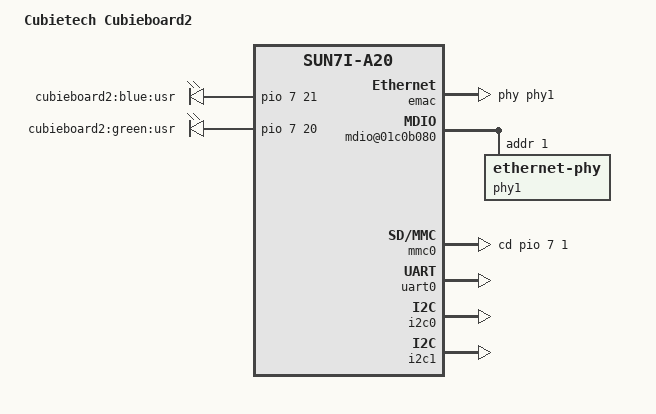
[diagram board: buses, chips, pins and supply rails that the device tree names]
/*
 * Copyright 2013 Maxime Ripard
 *
 * Maxime Ripard <maxime.ripard@free-electrons.com>
 *
 * The code contained herein is licensed under the GNU General Public
 * License. You may obtain a copy of the GNU General Public License
 * Version 2 or later at the following locations:
 *
 * http://www.opensource.org/licenses/gpl-license.html
 * http://www.gnu.org/copyleft/gpl.html
 */

/dts-v1/;
/include/ "sun7i-a20.dtsi"

/ {
	model = "Cubietech Cubieboard2";
	compatible = "cubietech,cubieboard2", "allwinner,sun7i-a20";

	soc@01c00000 {
		emac: ethernet@01c0b000 {
			pinctrl-names = "default";
			pinctrl-0 = <&emac_pins_a>;
			phy = <&phy1>;
			status = "okay";
		};

		mdio@01c0b080 {
			status = "okay";

			phy1: ethernet-phy@1 {
				reg = <1>;
			};
		};

		mmc0: mmc@01c0f000 {
			pinctrl-names = "default";
			pinctrl-0 = <&mmc0_pins_a>;
			pinctrl-1 = <&mmc0_cd_pin_cubieboard2>;
			cd-gpios = <&pio 7 1 0>; /* PH1 */
			cd-mode = <1>;
			status = "okay";
		};

		pinctrl@01c20800 {
			mmc0_cd_pin_cubieboard2: mmc0_cd_pin@0 {
				allwinner,pins = "PH1";
				allwinner,function = "gpio_in";
				allwinner,drive = <0>;
				allwinner,pull = <0>;
			};

			led_pins_cubieboard2: led_pins@0 {
				allwinner,pins = "PH20", "PH21";
				allwinner,function = "gpio_out";
				allwinner,drive = <0>;
				allwinner,pull = <0>;
			};
		};

		uart0: serial@01c28000 {
			pinctrl-names = "default";
			pinctrl-0 = <&uart0_pins_a>;
			status = "okay";
		};

		i2c0: i2c@01c2ac00 {
			pinctrl-names = "default";
			pinctrl-0 = <&i2c0_pins_a>;
			status = "okay";
		};

		i2c1: i2c@01c2b000 {
			pinctrl-names = "default";
			pinctrl-0 = <&i2c1_pins_a>;
			status = "okay";
		};
	};

	leds {
		compatible = "gpio-leds";
		pinctrl-names = "default";
		pinctrl-0 = <&led_pins_cubieboard2>;

		blue {
			label = "cubieboard2:blue:usr";
			gpios = <&pio 7 21 0>;
		};

		green {
			label = "cubieboard2:green:usr";
			gpios = <&pio 7 20 0>;
		};
	};
};
